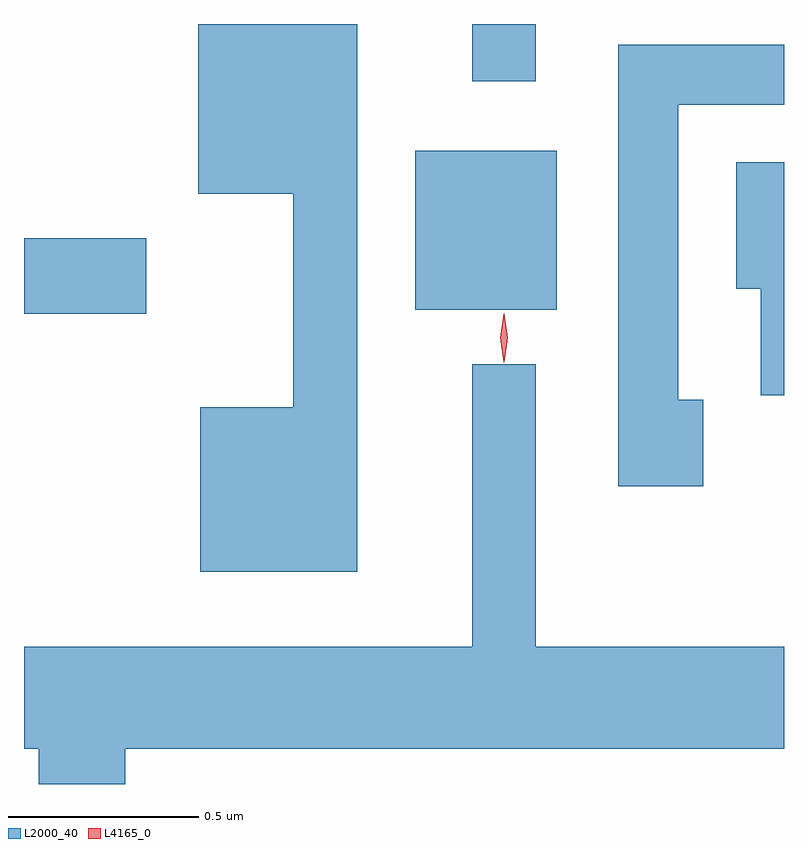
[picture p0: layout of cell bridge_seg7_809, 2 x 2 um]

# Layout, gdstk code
import gdstk
lib = gdstk.Library(unit=1e-6, precision=1e-09)
def R(c, l, rs):  # rectangles x0, y0, x1, y1
    for r in rs: c.add(gdstk.rectangle(r[:2], r[2:], *l))
def P(c, l, *ps):  # polygons
    for p in ps: c.add(gdstk.Polygon(p, *l))
L2000_40 = (2000, 40)
L4165_0 = (4165, 0)

bridge_seg7_809 = lib.new_cell('bridge_seg7_809')
R(bridge_seg7_809, L2000_40, [(235.922,1773.181,236.244,1773.379), (236.951,1773.191,237.324,1773.609), (237.101,1773.793,237.269,1773.943)])
P(bridge_seg7_809, L2000_40, [(236.799,1773.943),(236.381,1773.943),(236.381,1773.496),(236.631,1773.496),(236.631,1772.934),(236.386,1772.934),(236.386,1772.501),(236.799,1772.501)],
  [(237.709,1772.954),(237.644,1772.954),(237.644,1773.731),(237.922,1773.731),(237.922,1773.889),(237.486,1773.889),(237.486,1772.726),(237.709,1772.726)],
  [(237.922,1773.579),(237.796,1773.579),(237.796,1773.246),(237.861,1773.246),(237.861,1772.966),(237.922,1772.966)],
  [(236.189,1772.036),(237.922,1772.036),(237.922,1772.304),(237.269,1772.304),(237.269,1773.048),(237.101,1773.048),(237.101,1772.304),(235.922,1772.304),(235.922,1772.036),(235.961,1772.036),(235.961,1771.943),(236.189,1771.943)])
P(bridge_seg7_809, L4165_0, [(237.185,1773.052),(237.184,1773.053),(237.175,1773.117),(237.185,1773.181),(237.186,1773.182),(237.186,1773.181),(237.195,1773.117),(237.186,1773.053)])

lib.write_gds('bridge_seg7_809.gds')
